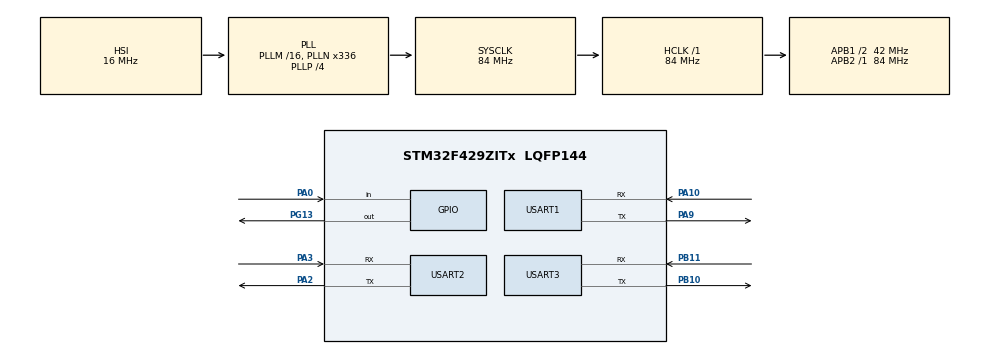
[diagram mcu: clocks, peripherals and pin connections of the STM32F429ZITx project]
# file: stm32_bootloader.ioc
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Mcu.Family=STM32F4
Mcu.Name=STM32F429ZITx
Mcu.Package=LQFP144
NVIC.PriorityGroup=NVIC_PRIORITYGROUP_4
PA0/WKUP.Signal=GPIO_Input
PA10.Mode=Asynchronous
PA10.Signal=USART1_RX
PA2.Mode=Asynchronous
PA2.Signal=USART2_TX
PA3.Mode=Asynchronous
PA3.Signal=USART2_RX
PA9.Mode=Asynchronous
PA9.Signal=USART1_TX
PB10.Mode=Asynchronous
PB10.Signal=USART3_TX
PB11.Mode=Asynchronous
PB11.Signal=USART3_RX
PG13.Signal=GPIO_Output
ProjectManager.HeapSize=0x200
ProjectManager.StackSize=0x400
ProjectManager.TargetToolchain=STM32CubeIDE
RCC.48MHZClocksFreq_Value=84000000
RCC.AHBFreq_Value=84000000
RCC.APB1CLKDivider=RCC_HCLK_DIV2
RCC.APB1Freq_Value=42000000
RCC.APB1TimFreq_Value=84000000
RCC.APB2Freq_Value=84000000
RCC.APB2TimFreq_Value=84000000
RCC.CortexFreq_Value=84000000
RCC.HCLKFreq_Value=84000000
RCC.HSE_VALUE=25000000
RCC.HSI_VALUE=16000000
RCC.LSE_VALUE=32768
RCC.PLLN=336
RCC.PLLP=RCC_PLLP_DIV4
RCC.SYSCLKFreq_VALUE=84000000
RCC.SYSCLKSource=RCC_SYSCLKSOURCE_PLLCLK
RCC.VCOOutputFreq_Value=336000000
USART1.VirtualMode=VM_ASYNC
USART2.VirtualMode=VM_ASYNC
USART3.VirtualMode=VM_ASYNC
VP_CRC_VS_CRC.Mode=CRC_Activate
board=custom

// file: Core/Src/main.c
/* USER CODE BEGIN Header */
/**
  ******************************************************************************
  * @file           : main.c
  * @brief          : Main program body
  ******************************************************************************
  * @attention
  *
  * Copyright (c) 2023 STMicroelectronics.
  * All rights reserved.
  *
  * This software is licensed under terms that can be found in the LICENSE file
  * in the root directory of this software component.
  * If no LICENSE file comes with this software, it is provided AS-IS.
  *
  ******************************************************************************
  */
/* USER CODE END Header */
#include "main.h"
#include <stdarg.h>
#include <string.h>

/* USER CODE BEGIN PM */
#define C_UART		&huart3
#define D_UART		&huart1
/* USER CODE END PM */

CRC_HandleTypeDef hcrc;

UART_HandleTypeDef huart1;
UART_HandleTypeDef huart2;
UART_HandleTypeDef huart3;

/* USER CODE BEGIN PV */
uint8_t BlRxBuffer[BL_DATA_LEN] = {0};
uint8_t supported_commands[] = {
                               BL_GET_VER ,
                               BL_GET_HELP,
                               BL_GET_CID,
                               BL_GET_RDP_STATUS,
                               BL_GO_TO_ADDR,
                               BL_FLASH_ERASE,
                               BL_MEM_WRITE,
															 BL_READ_SECT_STS};
/* USER CODE END PV */

void SystemClock_Config(void);
static void MX_GPIO_Init(void);
static void MX_USART1_UART_Init(void);
static void MX_USART2_UART_Init(void);
static void MX_USART3_UART_Init(void);
static void MX_CRC_Init(void);
/* USER CODE BEGIN PFP */
static void bootloader_uart_read_data(void);
static void bootloader_jump_to_user_app(void);
static void bootloader_handle_getver_cmd(uint8_t * bl_rx_data);
static void bootloader_handle_gethelp_cmd(uint8_t * bl_rx_data);
static void bootloader_handle_getcid_cmd(uint8_t * bl_rx_data);
static void bootloader_handle_getrdp_status_cmd(uint8_t * bl_rx_data);
static void bootloader_handle_goto_addr_cmd(uint8_t * bl_rx_data);
static void bootloader_handle_flash_erase_cmd(uint8_t * bl_rx_data);
static void bootloader_handle_memwrite_cmd(uint8_t * bl_rx_data);
static void bootloader_handle_endis_rw_cmd(uint8_t * bl_rx_data);
static void bootloader_handle_memread_cmd(uint8_t * bl_rx_data);
static void bootloader_handle_read_sector_status_cmd(uint8_t * bl_rx_data);
static void bootloader_handle_otpread_cmd(uint8_t * bl_rx_data);

static uint8_t bootloader_get_version();
static uint16_t get_mcu_chip_id(void);
static uint8_t get_rdp_status(void);
static uint8_t verify_address(uint32_t addr);
static uint8_t execute_erase_flash(uint8_t sector, uint8_t num_sector);
static uint8_t execute_mem_write(uint8_t *pData, uint32_t mem_addr, uint32_t len);

static void bootloader_send_ack(uint8_t cmd, uint8_t len);
static void bootloader_send_nack(void);
static void bootloader_uart_write_data(uint8_t *pData, uint8_t len);
static uint8_t bootloader_verify_crc(uint8_t *pData, uint32_t len, uint32_t crc_host);
static void printmsg(char *format,...);

/* USER CODE END PFP */

/* USER CODE BEGIN 0 */
char HelloInBoot[] = "BL_DEBUG_MSG:Hello from Bootloader\r\n";
char HelloToApp[] = "BL_DEBUG_MSG:Hello to Application\r\n";
/* USER CODE END 0 */

int main(void)
{

  /* MCU Configuration--------------------------------------------------------*/

  /* Reset of all peripherals, Initializes the Flash interface and the Systick. */
  HAL_Init();

  /* Configure the system clock */
  SystemClock_Config();

  /* Initialize all configured peripherals */
  MX_GPIO_Init();
  MX_USART1_UART_Init();
  MX_USART2_UART_Init();
  MX_USART3_UART_Init();
  MX_CRC_Init();

  /* Infinite loop */
  while (1)
  {

    /* USER CODE BEGIN 3 */
  	if (HAL_GPIO_ReadPin(GPIOA, GPIO_PIN_0) == GPIO_PIN_SET)
  	{
  		bootloader_uart_read_data();
  	}
  	else
  	{
  		bootloader_jump_to_user_app();
  	}
    /* USER CODE END 3 */
  }
}

void SystemClock_Config(void)
{
  RCC_OscInitTypeDef RCC_OscInitStruct = {0};
  RCC_ClkInitTypeDef RCC_ClkInitStruct = {0};

  /** Configure the main internal regulator output voltage
  */
  __HAL_RCC_PWR_CLK_ENABLE();
  __HAL_PWR_VOLTAGESCALING_CONFIG(PWR_REGULATOR_VOLTAGE_SCALE3);

  /** Initializes the RCC Oscillators according to the specified parameters
  * in the RCC_OscInitTypeDef structure.
  */
  RCC_OscInitStruct.OscillatorType = RCC_OSCILLATORTYPE_HSI;
  RCC_OscInitStruct.HSIState = RCC_HSI_ON;
  RCC_OscInitStruct.HSICalibrationValue = RCC_HSICALIBRATION_DEFAULT;
  RCC_OscInitStruct.PLL.PLLState = RCC_PLL_ON;
  RCC_OscInitStruct.PLL.PLLSource = RCC_PLLSOURCE_HSI;
  RCC_OscInitStruct.PLL.PLLM = 16;
  RCC_OscInitStruct.PLL.PLLN = 336;
  RCC_OscInitStruct.PLL.PLLP = RCC_PLLP_DIV4;
  RCC_OscInitStruct.PLL.PLLQ = 4;
  if (HAL_RCC_OscConfig(&RCC_OscInitStruct) != HAL_OK)
  {
    Error_Handler();
  }

  /** Initializes the CPU, AHB and APB buses clocks
  */
  RCC_ClkInitStruct.ClockType = RCC_CLOCKTYPE_HCLK|RCC_CLOCKTYPE_SYSCLK
                              |RCC_CLOCKTYPE_PCLK1|RCC_CLOCKTYPE_PCLK2;
  RCC_ClkInitStruct.SYSCLKSource = RCC_SYSCLKSOURCE_PLLCLK;
  RCC_ClkInitStruct.AHBCLKDivider = RCC_SYSCLK_DIV1;
  RCC_ClkInitStruct.APB1CLKDivider = RCC_HCLK_DIV2;
  RCC_ClkInitStruct.APB2CLKDivider = RCC_HCLK_DIV1;

  if (HAL_RCC_ClockConfig(&RCC_ClkInitStruct, FLASH_LATENCY_2) != HAL_OK)
  {
    Error_Handler();
  }
}

static void MX_CRC_Init(void)
{

  hcrc.Instance = CRC;
  if (HAL_CRC_Init(&hcrc) != HAL_OK)
  {
    Error_Handler();
  }

}

static void MX_USART1_UART_Init(void)
{

  huart1.Instance = USART1;
  huart1.Init.BaudRate = 115200;
  huart1.Init.WordLength = UART_WORDLENGTH_8B;
  huart1.Init.StopBits = UART_STOPBITS_1;
  huart1.Init.Parity = UART_PARITY_NONE;
  huart1.Init.Mode = UART_MODE_TX_RX;
  huart1.Init.HwFlowCtl = UART_HWCONTROL_NONE;
  huart1.Init.OverSampling = UART_OVERSAMPLING_16;
  if (HAL_UART_Init(&huart1) != HAL_OK)
  {
    Error_Handler();
  }

}

static void MX_USART2_UART_Init(void)
{

  huart2.Instance = USART2;
  huart2.Init.BaudRate = 115200;
  huart2.Init.WordLength = UART_WORDLENGTH_8B;
  huart2.Init.StopBits = UART_STOPBITS_1;
  huart2.Init.Parity = UART_PARITY_NONE;
  huart2.Init.Mode = UART_MODE_TX_RX;
  huart2.Init.HwFlowCtl = UART_HWCONTROL_NONE;
  huart2.Init.OverSampling = UART_OVERSAMPLING_16;
  if (HAL_UART_Init(&huart2) != HAL_OK)
  {
    Error_Handler();
  }

}

static void MX_USART3_UART_Init(void)
{

  huart3.Instance = USART3;
  huart3.Init.BaudRate = 115200;
  huart3.Init.WordLength = UART_WORDLENGTH_8B;
  huart3.Init.StopBits = UART_STOPBITS_1;
  huart3.Init.Parity = UART_PARITY_NONE;
  huart3.Init.Mode = UART_MODE_TX_RX;
  huart3.Init.HwFlowCtl = UART_HWCONTROL_NONE;
  huart3.Init.OverSampling = UART_OVERSAMPLING_16;
  if (HAL_UART_Init(&huart3) != HAL_OK)
  {
    Error_Handler();
  }

}

static void MX_GPIO_Init(void)
{
  GPIO_InitTypeDef GPIO_InitStruct = {0};

  /* GPIO Ports Clock Enable */
  __HAL_RCC_GPIOA_CLK_ENABLE();
  __HAL_RCC_GPIOB_CLK_ENABLE();
  __HAL_RCC_GPIOG_CLK_ENABLE();

  /*Configure GPIO pin Output Level */
  HAL_GPIO_WritePin(GPIOG, GPIO_PIN_13, GPIO_PIN_RESET);

  /*Configure GPIO pin : PA0 */
  GPIO_InitStruct.Pin = GPIO_PIN_0;
  GPIO_InitStruct.Mode = GPIO_MODE_INPUT;
  GPIO_InitStruct.Pull = GPIO_NOPULL;
  HAL_GPIO_Init(GPIOA, &GPIO_InitStruct);

  /*Configure GPIO pin : PG13 */
  GPIO_InitStruct.Pin = GPIO_PIN_13;
  GPIO_InitStruct.Mode = GPIO_MODE_OUTPUT_PP;
  GPIO_InitStruct.Pull = GPIO_NOPULL;
  GPIO_InitStruct.Speed = GPIO_SPEED_FREQ_LOW;
  HAL_GPIO_Init(GPIOG, &GPIO_InitStruct);

}

/* USER CODE BEGIN 4 */
void bootloader_uart_read_data()
{
	printmsg(HelloInBoot);
	uint8_t recv_len = 0;
	while(1)
	{
		memset(BlRxBuffer, 0, BL_DATA_LEN);

		// read first byte to get data length
		HAL_UART_Receive(C_UART, BlRxBuffer, 1, HAL_MAX_DELAY);

		recv_len = BlRxBuffer[BL_DATA_LEN_IDX];

		// read remain data
		HAL_UART_Receive(C_UART, &BlRxBuffer[1], recv_len, HAL_MAX_DELAY);

		switch (BlRxBuffer[BL_DATA_CMD_IDX])
		{
		case BL_GET_VER:
			bootloader_handle_getver_cmd(BlRxBuffer);
			break;
		case BL_GET_HELP:
			bootloader_handle_gethelp_cmd(BlRxBuffer);
			break;
		case BL_GET_CID:
			bootloader_handle_getcid_cmd(BlRxBuffer);
			break;
		case BL_GET_RDP_STATUS:
			bootloader_handle_getrdp_status_cmd(BlRxBuffer);
			break;
		case BL_GO_TO_ADDR:
			bootloader_handle_goto_addr_cmd(BlRxBuffer);
			break;
		case BL_FLASH_ERASE:
			bootloader_handle_flash_erase_cmd(BlRxBuffer);
			break;
		case BL_MEM_WRITE:
			bootloader_handle_memwrite_cmd(BlRxBuffer);
			break;
		case BL_EN_DIS_RW:
			bootloader_handle_endis_rw_cmd(BlRxBuffer);
			break;
		case BL_MEM_READ:
			bootloader_handle_memread_cmd(BlRxBuffer);
			break;
		case BL_READ_SECT_STS:
			bootloader_handle_read_sector_status_cmd(BlRxBuffer);
			break;
		case BL_OTP_READ:
			bootloader_handle_otpread_cmd(BlRxBuffer);
			break;
		default:
			printmsg("BL_DEBUG_MSG:Command is not correct.\r\n");
		}

	}
}

void bootloader_jump_to_user_app()
{
	printmsg(HelloToApp);

	// just a function pointer to hold the address of reset handler of user app
	void (*app_reset_handler)(void);

	// 0x80008000: 4 first bytes hold the msp
	// 0x80008004: next 4 bytes hold the reset_handler

	// 1. Config the MSP by reading the value from the base address of sector 2
	uint32_t msp_value = *(volatile uint32_t *) FLASH_SECTOR2_BASE_ADDRESS;
	printmsg("BL_DEBUG_MSG:MSP value: %#x\r\n", msp_value);

	__set_MSP(msp_value);

	// 2. Now fetch the reset handler address of the User application
	uint32_t reset_handler_address = *(volatile uint32_t *) (FLASH_SECTOR2_BASE_ADDRESS + 4);
	app_reset_handler = (void*)reset_handler_address;
	printmsg("BL_DEBUG_MSG:Reset handler address: %#x\r\n", reset_handler_address);

	// 3. Jump to reset handler of the application
	app_reset_handler();
}

static void bootloader_handle_getver_cmd(uint8_t * bl_rx_data)
{
	uint8_t bl_ver;

	// 1. verify checksum
	printmsg("BL_DEBUG_MSG:bootloader_handle_getver_cmd.\r\n");

	// total length of the cmd packet
	uint32_t cmd_packet_len = bl_rx_data[BL_DATA_LEN_IDX] + 1;

	// extract the CRC32 sent by host
	uint32_t host_crc = *((uint32_t *) (bl_rx_data + cmd_packet_len - BL_FOUR_BYTES));
	if (!bootloader_verify_crc(&bl_rx_data[BL_DATA_LEN_IDX], cmd_packet_len - BL_FOUR_BYTES, host_crc))
	{
		printmsg("BL_DEBUG_MSG: Checksum success.\r\n");
		bootloader_send_ack(bl_rx_data[BL_DATA_CMD_IDX], BL_ONE_BYTE);
		bl_ver = bootloader_get_version();
		printmsg("BL_DEBUG_MSG: BL_VER: %d %#x\r\n", bl_ver, bl_ver);
		bootloader_uart_write_data(&bl_ver, BL_ONE_BYTE);
	}
	else
	{
		printmsg("BL_DEBUG_MSG: Checksum failure.\r\n");
		bootloader_send_nack();
	}
}

static void bootloader_handle_gethelp_cmd(uint8_t * bl_rx_data)
{
  printmsg("BL_DEBUG_MSG:bootloader_handle_gethelp_cmd\r\n");

	//Total length of the command packet
	uint32_t command_packet_len = bl_rx_data[BL_DATA_LEN_IDX]+1 ;

	//extract the CRC32 sent by the Host
	uint32_t host_crc = *((uint32_t * ) (bl_rx_data+command_packet_len - BL_FOUR_BYTES) ) ;

	if (! bootloader_verify_crc(&bl_rx_data[BL_DATA_LEN_IDX], command_packet_len-BL_FOUR_BYTES, host_crc))
	{
				printmsg("BL_DEBUG_MSG:Checksum success !!\r\n");
				bootloader_send_ack(bl_rx_data[BL_DATA_CMD_IDX],sizeof(supported_commands));
				bootloader_uart_write_data(supported_commands,sizeof(supported_commands) );

	}
	else
	{
				printmsg("BL_DEBUG_MSG:checksum fail !!\r\n");
				bootloader_send_nack();
	}
}

static void bootloader_handle_getcid_cmd(uint8_t * bl_rx_data)
{
	uint16_t cid;

	// 1. verify checksum
	printmsg("BL_DEBUG_MSG:bootloader_handle_getcid_cmd.\r\n");

	// total length of the cmd packet
	uint32_t cmd_packet_len = bl_rx_data[BL_DATA_LEN_IDX] + 1;

	// extract the CRC32 sent by host
	uint32_t host_crc = *((uint32_t *) (bl_rx_data + cmd_packet_len - BL_FOUR_BYTES));
	if (!bootloader_verify_crc(&bl_rx_data[BL_DATA_LEN_IDX], cmd_packet_len - BL_FOUR_BYTES, host_crc))
	{
		printmsg("BL_DEBUG_MSG: Checksum success.\r\n");
		bootloader_send_ack(bl_rx_data[BL_DATA_CMD_IDX], BL_TWO_BYTES);
		cid = get_mcu_chip_id();
		printmsg("BL_DEBUG_MSG: CID: %d %#x\r\n", cid, cid);
		bootloader_uart_write_data((uint8_t *)&cid, BL_TWO_BYTES);
	}
	else
	{
		printmsg("BL_DEBUG_MSG: Checksum failure.\r\n");
		bootloader_send_nack();
	}
}

static void bootloader_handle_getrdp_status_cmd(uint8_t * bl_rx_data)
{
	uint8_t rdp_status;

	// 1. verify checksum
	printmsg("BL_DEBUG_MSG:bootloader_handle_getrdp_status_cmd.\r\n");

	// total length of the cmd packet
	uint32_t cmd_packet_len = bl_rx_data[BL_DATA_LEN_IDX] + 1;

	// extract the CRC32 sent by host
	uint32_t host_crc = *((uint32_t *) (bl_rx_data + cmd_packet_len - BL_FOUR_BYTES));
	if (!bootloader_verify_crc(&bl_rx_data[BL_DATA_LEN_IDX], cmd_packet_len - BL_FOUR_BYTES, host_crc))
	{
		printmsg("BL_DEBUG_MSG: Checksum success.\r\n");
		bootloader_send_ack(bl_rx_data[BL_DATA_CMD_IDX], BL_ONE_BYTE);
		rdp_status = get_rdp_status();
		printmsg("BL_DEBUG_MSG: RDP status: %#x\r\n", rdp_status);
		bootloader_uart_write_data((uint8_t *)&rdp_status, BL_ONE_BYTE);
	}
	else
	{
		printmsg("BL_DEBUG_MSG: Checksum failure.\r\n");
		bootloader_send_nack();
	}
}

static void bootloader_handle_goto_addr_cmd(uint8_t * bl_rx_data)
{
	uint32_t go_address;
	uint8_t addr_valid = ADDRESS_VALID;
	uint8_t addr_invalid = ADDRESS_INVALID;

	// 1. verify checksum
	printmsg("BL_DEBUG_MSG:bootloader_handle_goto_addr_cmd.\r\n");

	// total length of the cmd packet
	uint32_t cmd_packet_len = bl_rx_data[BL_DATA_LEN_IDX] + 1;

	// extract the CRC32 sent by host
	uint32_t host_crc = *((uint32_t *) (bl_rx_data + cmd_packet_len - BL_FOUR_BYTES));
	if (!bootloader_verify_crc(&bl_rx_data[BL_DATA_LEN_IDX], cmd_packet_len - BL_FOUR_BYTES, host_crc))
	{
		printmsg("BL_DEBUG_MSG: Checksum success.\r\n");
		bootloader_send_ack(bl_rx_data[BL_DATA_CMD_IDX], BL_ONE_BYTE);

		// extract address
		go_address = *( (uint32_t*) &bl_rx_data[2] );
		printmsg("BL_DEBUG_MSG: Goto addr: %x\r\n", go_address);

		if (verify_address(go_address) == ADDRESS_VALID)
		{
			// tell host that address is fine
			bootloader_uart_write_data(&addr_valid, 1);
			go_address+=1; // make T bit=1
			void (*lets_jump)(void) = (void *)go_address;
			printmsg("BL_DEBUG_MSG: Jumping to address\r\n");
			lets_jump();
		}
		else
		{
			printmsg("BL_DEBUG_MSG: Address invalid.\r\n");
			bootloader_uart_write_data(&addr_invalid, 1);
		}
	}
	else
	{
		printmsg("BL_DEBUG_MSG: Checksum failure.\r\n");
		bootloader_send_nack();
	}
}

static void bootloader_handle_flash_erase_cmd(uint8_t * bl_rx_data)
{

	// 1. verify checksum
	printmsg("BL_DEBUG_MSG:bootloader_handle_flash_erase_cmd.\r\n");

	// total length of the cmd packet
	uint32_t cmd_packet_len = bl_rx_data[BL_DATA_LEN_IDX] + 1;

	// extract the CRC32 sent by host
	uint32_t host_crc = *((uint32_t *) (bl_rx_data + cmd_packet_len - BL_FOUR_BYTES));
	if (!bootloader_verify_crc(&bl_rx_data[BL_DATA_LEN_IDX], cmd_packet_len - BL_FOUR_BYTES, host_crc))
	{
		printmsg("BL_DEBUG_MSG: Checksum success.\r\n");
		bootloader_send_ack(bl_rx_data[BL_DATA_CMD_IDX], BL_ONE_BYTE);

		printmsg("BL_DEBUG_MSG: Erase_sector: %d\r\nBL_DEBUG_MSG: No_Sector: %d.\r\n", bl_rx_data[2], bl_rx_data[3]);
		HAL_GPIO_WritePin(GPIOG, GPIO_PIN_13, GPIO_PIN_SET);
		uint8_t erase_status = execute_erase_flash(bl_rx_data[2], bl_rx_data[3]);
		HAL_GPIO_WritePin(GPIOG, GPIO_PIN_13, GPIO_PIN_RESET);
		printmsg("BL_DEBUG_MSG: Erase_status %x.\r\n", erase_status);
		bootloader_uart_write_data((uint8_t *)&erase_status, BL_ONE_BYTE);
	}
	else
	{
		printmsg("BL_DEBUG_MSG: Checksum failure.\r\n");
		bootloader_send_nack();
	}
}

static void bootloader_handle_memwrite_cmd(uint8_t * bl_rx_data)
{
	uint8_t write_status = 0x00;
	// 1. verify checksum
	printmsg("BL_DEBUG_MSG:bootloader_handle_memwrite_cmd.\r\n");

	// total length of the cmd packet
	uint32_t cmd_packet_len = bl_rx_data[BL_DATA_LEN_IDX] + 1;

	// extract the CRC32 sent by host
	uint32_t host_crc = *((uint32_t *) (bl_rx_data + cmd_packet_len - BL_FOUR_BYTES));
	if (!bootloader_verify_crc(&bl_rx_data[BL_DATA_LEN_IDX], cmd_packet_len - BL_FOUR_BYTES, host_crc))
	{
		printmsg("BL_DEBUG_MSG: Checksum success.\r\n");
		bootloader_send_ack(bl_rx_data[0], BL_ONE_BYTE);

		uint32_t mem_addr = *(uint32_t *)(&bl_rx_data[2]);
		printmsg("BL_DEBUG_MSG: Programming at mem: %#x with data length %d.\r\n", mem_addr, bl_rx_data[6]);
		if (verify_address(mem_addr)  == ADDRESS_VALID)
		{
			printmsg("BL_DEBUG_MSG: Valid memory address.\r\n");

			HAL_GPIO_WritePin(GPIOG, GPIO_PIN_13, GPIO_PIN_SET);

			write_status = execute_mem_write(&bl_rx_data[7], mem_addr, bl_rx_data[6]);

			HAL_GPIO_WritePin(GPIOG, GPIO_PIN_13, GPIO_PIN_RESET);
			printmsg("BL_DEBUG_MSG: Write memory status %x.\r\n", write_status);
			bootloader_uart_write_data((uint8_t *)&write_status, BL_ONE_BYTE);
		}
		else
		{
			printmsg("BL_DEBUG_MSG: Invalid memory address.\r\n");
			write_status = ADDRESS_INVALID;
			bootloader_uart_write_data((uint8_t *)&write_status, BL_ONE_BYTE);
		}

	}
	else
	{
		printmsg("BL_DEBUG_MSG: Checksum failure.\r\n");
		bootloader_send_nack();
	}
}

static void bootloader_handle_endis_rw_cmd(uint8_t * bl_rx_data)
{

}

static void bootloader_handle_memread_cmd(uint8_t * bl_rx_data)
{

}

static void bootloader_handle_read_sector_status_cmd(uint8_t * bl_rx_data)
{

}

static void bootloader_handle_otpread_cmd(uint8_t * bl_rx_data)
{

}

static uint8_t bootloader_get_version()
{
	return BL_VERSION;
}

static uint16_t get_mcu_chip_id(void)
{
	uint16_t cid;
	cid = (uint16_t) (DBGMCU->IDCODE) & 0x0FFF;
	return cid;
}

static uint8_t get_rdp_status(void)
{
	uint8_t rdp;
	rdp = (uint8_t) (((*(volatile uint32_t *)(READ_PROTECTION_OPTION_BYTE))>>8) & 0xFF);
	return rdp;
}

static uint8_t verify_address(uint32_t addr)
{
	uint8_t ret_val = ADDRESS_INVALID;
	if ((FLASH_BASE <= addr) && (FLASH_END >= addr))
	{
		ret_val = ADDRESS_VALID;
	}
	else if ((SRAM1_BASE <= addr) && (SRAM2_BASE > addr))
	{
		ret_val = ADDRESS_VALID;
	}
	else if ((SRAM2_BASE <= addr) && (SRAM3_BASE > addr))
	{
		ret_val = ADDRESS_VALID;
	}
	else
	{
		ret_val = ADDRESS_INVALID;
	}
	return ret_val;
}

static uint8_t execute_erase_flash(uint8_t sector, uint8_t num_sector)
{
	FLASH_EraseInitTypeDef flashEraseInit;
	uint32_t sector_error;
	HAL_StatusTypeDef status;

	if (num_sector > 8)
	{
		return SECTOR_INVALID;
	}
	// if sector == 0xff that mean mass erase
	if ((sector == 0xff) || (sector <=7))
	{
		if (sector == 0xff)
		{
			flashEraseInit.TypeErase = FLASH_TYPEERASE_MASSERASE;
		}
		else
		{
			uint8_t remain_sector = 8 - sector;
			if (num_sector > remain_sector)
			{
				num_sector = remain_sector;
			}
			flashEraseInit.TypeErase = FLASH_TYPEERASE_SECTORS;
			flashEraseInit.Sector = sector;
			flashEraseInit.NbSectors = num_sector;
		}
		flashEraseInit.Banks = FLASH_BANK_1;

		// unlock FLASH register
		HAL_FLASH_Unlock();
		flashEraseInit.VoltageRange = FLASH_VOLTAGE_RANGE_3;
		status = (uint8_t) HAL_FLASHEx_Erase(&flashEraseInit, &sector_error);
		HAL_FLASH_Lock();

		return status;
	}
	return SECTOR_INVALID;
}

static uint8_t execute_mem_write(uint8_t *pData, uint32_t mem_addr, uint32_t len)
{
	uint8_t status=HAL_OK;

	HAL_FLASH_Unlock();

	for (uint32_t i = 0; i < len; ++i) {
		status = HAL_FLASH_Program(FLASH_TYPEPROGRAM_BYTE, mem_addr+i, pData[i]);
	}
	HAL_FLASH_Lock();
	return status;
}

static void bootloader_send_ack(uint8_t cmd, uint8_t len)
{
	uint8_t ack_buffer[2];
	ack_buffer[0] = BL_ACK;
	ack_buffer[1] = len;
	HAL_UART_Transmit(C_UART, ack_buffer, BL_TWO_BYTES, HAL_MAX_DELAY);
}

static void bootloader_send_nack(void)
{
	uint8_t nack_buffer = BL_NACK;
	HAL_UART_Transmit(C_UART, &nack_buffer, BL_ONE_BYTE, HAL_MAX_DELAY);
}

static void bootloader_uart_write_data(uint8_t *pData, uint8_t len)
{
	HAL_UART_Transmit(C_UART, pData, len, HAL_MAX_DELAY);
}

static uint8_t bootloader_verify_crc(uint8_t *pData, uint32_t len, uint32_t crc_host)
{
	uint32_t uwCRCValue = 0xFF;
	for (uint32_t i = 0; i < len; ++i) {
		uint32_t i_data = pData[i];
		uwCRCValue = HAL_CRC_Accumulate(&hcrc, &i_data, 1);
	}
	 /* Reset CRC Calculation Unit */
	__HAL_CRC_DR_RESET(&hcrc);

	if (uwCRCValue == crc_host)
	{
		return VERIFY_CRC_SUCCESS;
	}
	return VERIFY_CRC_FAIL;
}

/* prints formatted string over USART */
void printmsg(char *format,...)
{
#ifdef BL_DEBUG_MSG
	char str[80];

	va_list args;
	va_start(args, format);
	vsprintf(str, format, args);
	HAL_UART_Transmit(D_UART, (uint8_t *)str, strlen(str), HAL_MAX_DELAY);
	va_end(args);
#endif
}
/* USER CODE END 4 */

void Error_Handler(void)
{
  __disable_irq();
  while (1)
  {
  }
}
